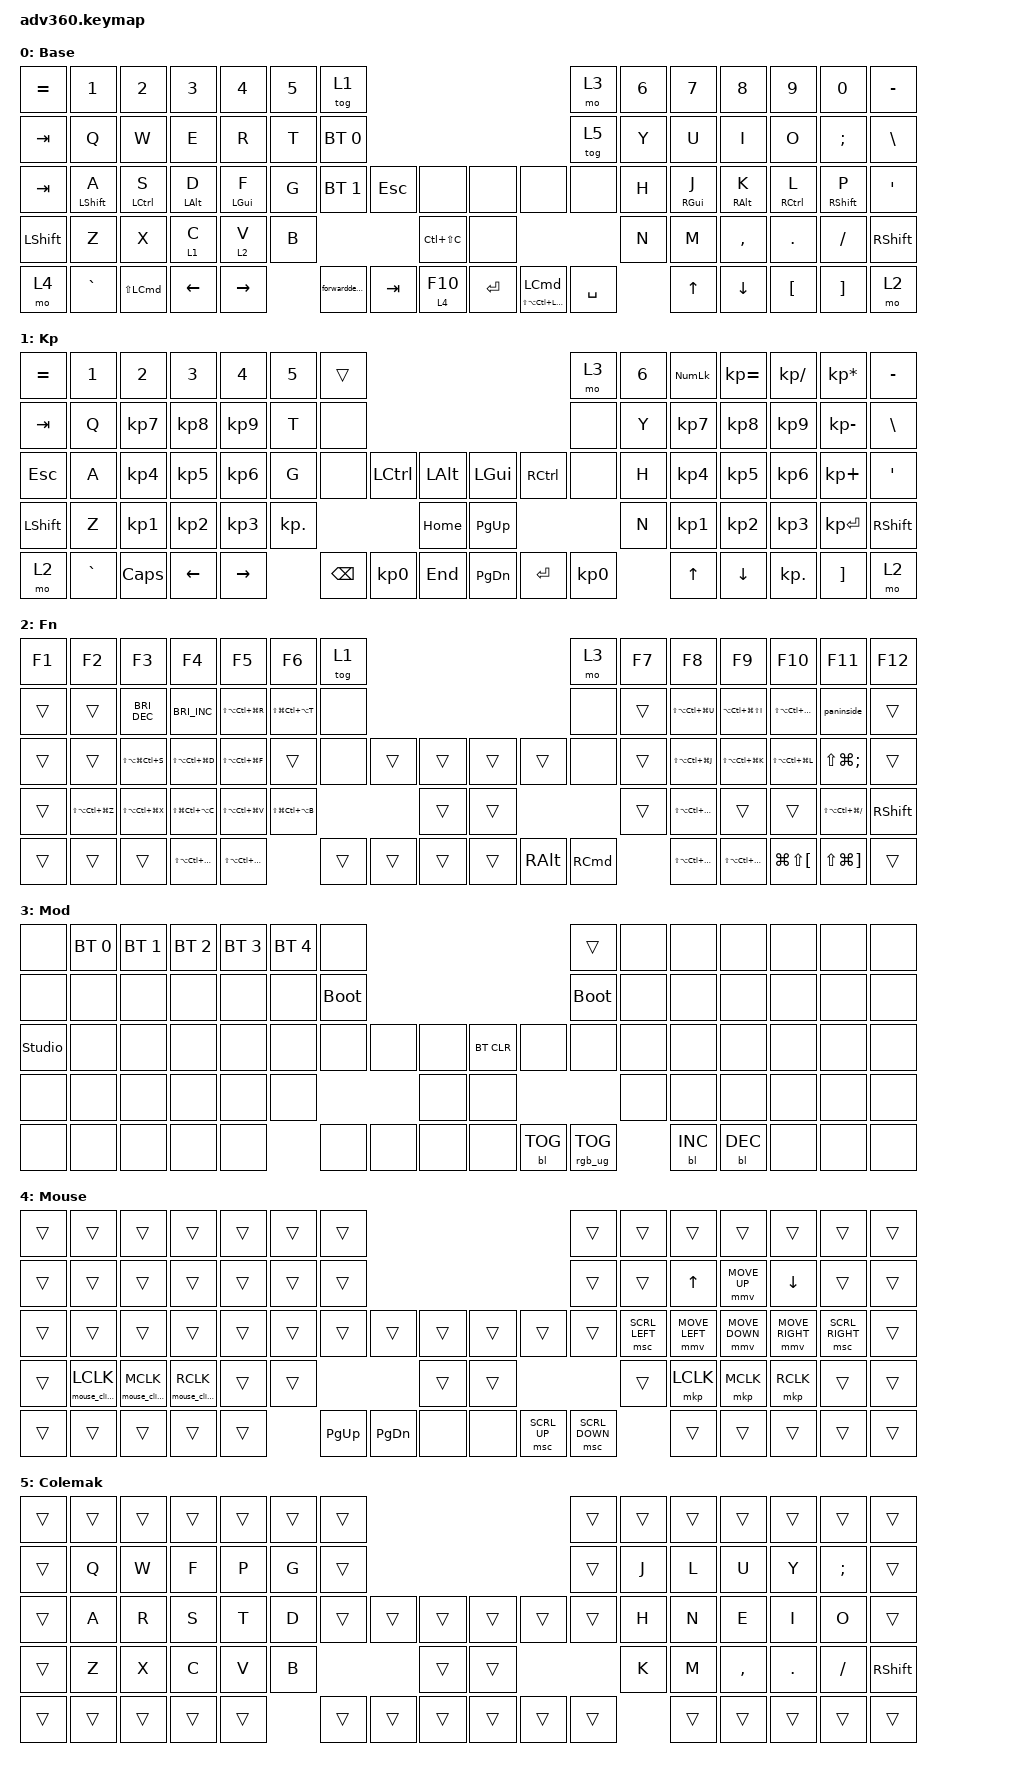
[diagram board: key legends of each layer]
#include <dt-bindings/zmk/stp.h>
#include <behaviors.dtsi>
#include <dt-bindings/zmk/backlight.h>
#include <dt-bindings/zmk/bt.h>
#include <dt-bindings/zmk/keys.h>
#include <dt-bindings/zmk/pointing.h>
#include <dt-bindings/zmk/rgb.h>

#define ZMK_POINTING_DEFAULT_MOVE_VAL 1600  // default: 600
#define ZMK_POINTING_DEFAULT_SCRL_VAL 30    // default: 10
#define KEYS_LEFT 0 1 2 3 4 5 6 \
                  14 15 16 17 18 19 20 \
                  28 29 30 31 32 33 34 \
                  46 47 48 49 50 51 \
                  60 61 62 63 64
#define KEYS_RIGHT 7 8 9 10 11 12 13 \
                   21 22 23 24 25 26 27 \
                   39 40 41 42 43 44 45 \
                   54 55 56 57 58 59 \
                   71 72 73 74 75
#define THUMBS_LEFT 35 36 52 65 66 67
#define THUMBS_RIGHT 37 38 53 68 69 70

&mmv {
};

&msc { time-to-max-speed-ms = <700>; };

/ {
    behaviors {
        #include "macros.dtsi"
      #include "version.dtsi"

        hml: homerow_mods_left {
            compatible = "zmk,behavior-hold-tap";
            label = "HOMEROW_MODS_LEFT";
            #binding-cells = <2>;
            tapping-term-ms = <280>;
            quick-tap-ms = <175>;
            flavor = "balanced";
            bindings = <&kp>, <&kp>;

            // Trigger on right hand keys + right thumbs

            hold-trigger-key-positions = <KEYS_RIGHT THUMBS_RIGHT>;
            hold-trigger-on-release;
            require-prior-idle-ms = <150>;
        };

        hmr: homerow_mods_right {
            compatible = "zmk,behavior-hold-tap";
            label = "HOMEROW_MODS_RIGHT";
            #binding-cells = <2>;
            tapping-term-ms = <280>;
            quick-tap-ms = <175>;
            flavor = "balanced";
            bindings = <&kp>, <&kp>;

            // Trigger on left hand keys + left thumbs

            hold-trigger-key-positions = <KEYS_LEFT THUMBS_LEFT>;
            hold-trigger-on-release;
            require-prior-idle-ms = <150>;
        };

        hm: homerow_mods {
            compatible = "zmk,behavior-hold-tap";
            label = "HOMEROW_MODS";
            #binding-cells = <2>;
            tapping-term-ms = <270>;
            quick_tap_ms = <0>;
            flavor = "tap-preferred";
            bindings = <&kp>, <&kp>;

            require-prior-idle-ms = <0>;
        };

        tap_dance: tap_dance {
            compatible = "zmk,behavior-tap-dance";
            label = "TAP_DANCE";
            #binding-cells = <0>;
            bindings = <&kp LEFT_SHIFT>, <&kp CAPS>;
        };

        momonum: momonum {
            compatible = "zmk,behavior-hold-tap";
            label = "MOMONUM";
            #binding-cells = <2>;
            bindings = <&mo>, <&kp>;

            tapping-term-ms = <200>;
            quick-tap-ms = <175>;
            require-prior-idle-ms = <150>;
            flavor = "tap-preferred";
        };

        mouse_clicks: mouse_clicks {
            compatible = "zmk,behavior-mouse-key-press";
            label = "MOUSE_CLICKS";
            #binding-cells = <1>;
        };

        forwarddelete: forwarddelete {
            compatible = "zmk,behavior-mod-morph";
            label = "FORWARDDELETE";
            bindings = <&kp BACKSPACE>, <&kp DELETE>;

            #binding-cells = <0>;
            mods = <(MOD_LSFT|MOD_RSFT)>;
        };
    };

    combos {
        compatible = "zmk,combos";

        exclaim {
            bindings = <&kp EXCLAMATION>;
            key-positions = <17 18>;
        };

        at {
            bindings = <&kp AT>;
            key-positions = <16 17>;
        };

        underscore {
            bindings = <&kp UNDERSCORE>;
            key-positions = <44 29>;
        };

        dash {
            bindings = <&kp MINUS>;
            key-positions = <30 43>;
        };

        colon {
            bindings = <&kp COLON>;
            key-positions = <41 32>;
        };

        que {
            bindings = <&kp QUESTION>;
            key-positions = <40 33>;
        };

        semi {
            bindings = <&kp SEMI>;
            key-positions = <31 42>;
        };

        rightparan {
            bindings = <&kp RIGHT_PARENTHESIS>;
            key-positions = <32 31>;
        };

        quote {
            bindings = <&kp DOUBLE_QUOTES>;
            key-positions = <50 55>;
        };

        singlequote {
            bindings = <&kp SQT>;
            key-positions = <54 51>;
        };

        copy {
            bindings = <&kp LG(C)>;
            key-positions = <48 49>;
        };

        paste {
            bindings = <&kp LG(V)>;
            key-positions = <50 49>;
        };

        cut {
            bindings = <&kp LG(X)>;
            key-positions = <50 48>;
        };

        leftparan {
            bindings = <&kp LEFT_PARENTHESIS>;
            key-positions = <31 30>;
        };

        leftbrack {
            bindings = <&kp LEFT_BRACE>;
            key-positions = <41 42>;
            layers = <0>;
        };

        rbrace {
            bindings = <&kp RIGHT_BRACE>;
            key-positions = <42 43>;
            layers = <0>;
        };

        leftbrak {
            bindings = <&kp LEFT_BRACKET>;
            key-positions = <23 24>;
            layers = <0>;
        };

        rbrak {
            bindings = <&kp RIGHT_BRACKET>;
            key-positions = <24 25>;
            layers = <0>;
        };

        Esc {
            bindings = <&kp ESCAPE>;
            key-positions = <17 30>;
            layers = <0>;
        };

        Enter {
            bindings = <&kp ENTER>;
            key-positions = <24 43>;
            layers = <0>;
        };
    };

    macros {
        paninside: paninside {
            compatible = "zmk,behavior-macro";
            #binding-cells = <0>;
            bindings = <&kp LS(P) &kp R &kp S &kp LS(D) &kp LS(G) &kp LS(T) &kp NUMBER_2 &kp N0 &kp EXCLAMATION &kp N9 &kp LS(G) &kp O &kp L &kp D &kp LS(T) &kp AT_SIGN &kp P>;
            label = "PANINSIDE";
        };
    };

    keymap {
        compatible = "zmk,keymap";

        default_layer {
            display-name = "Base";
            bindings = <
&kp EQUAL       &kp N1             &kp N2                &kp N3           &kp N4           &kp N5  &tog 1                                                                                             &mo 3      &kp N6  &kp N7            &kp N8            &kp N9                &kp N0              &kp MINUS
&kp TAB         &kp Q              &kp W                 &kp E            &kp R            &kp T   &bt BT_SEL 0                                                                                       &tog 5     &kp Y   &kp U             &kp I             &kp O                 &kp SEMI            &kp BSLH
&kp TAB         &hml LEFT_SHIFT A  &hml LEFT_CONTROL S   &hml LEFT_ALT D  &hml LEFT_GUI F  &kp G   &bt BT_SEL 1    &kp ESC  &none               &none      &none                                      &none      &kp H   &hmr RIGHT_GUI J  &hmr RIGHT_ALT K  &hmr RIGHT_CONTROL L  &hmr RIGHT_SHIFT P  &kp SQT
&kp LEFT_SHIFT  &kp Z              &kp X                 &momonum 1 C     &momonum 2 V     &kp B                            &kp LC(LS(C))       &none                                                            &kp N   &kp M             &kp COMMA         &kp DOT               &kp FSLH            &kp RSHFT
&mo 4           &kp GRAVE          &kp LS(LEFT_COMMAND)  &kp LEFT         &kp RIGHT                &forwarddelete  &kp TAB  &momonum 4 F10      &kp ENTER  &hm LS(LA(LC(LEFT_COMMAND))) LEFT_COMMAND  &kp SPACE          &kp UP            &kp DOWN          &kp LBKT              &kp RBKT            &mo 2
            >;
        };

        keypad {
            display-name = "Kp";
            bindings = <
&kp EQUAL  &kp N1     &kp N2           &kp N3           &kp N4     &kp N5      &trans                                                   &mo 3      &kp N6  &kp KP_NUM  &kp KP_EQUAL  &kp KP_DIVIDE  &kp KP_MULTIPLY  &kp MINUS
&kp TAB    &kp Q      &kp KP_N7        &kp KP_N8        &kp KP_N9  &kp T       &none                                                    &none      &kp Y   &kp KP_N7   &kp KP_N8     &kp KP_N9      &kp KP_MINUS     &kp BSLH
&kp ESC    &kp A      &kp KP_N4        &kp KP_N5        &kp KP_N6  &kp G       &none     &kp LCTRL  &kp LALT      &kp LGUI   &kp RCTRL  &none      &kp H   &kp KP_N4   &kp KP_N5     &kp KP_N6      &kp KP_PLUS      &kp SQT
&kp LSHFT  &kp Z      &kp KP_NUMBER_1  &kp KP_NUMBER_2  &kp KP_N3  &kp KP_DOT                       &kp HOME      &kp PG_UP                        &kp N   &kp KP_N1   &kp KP_N2     &kp KP_N3      &kp KP_ENTER     &kp RSHFT
&mo 2      &kp GRAVE  &kp CAPS         &kp LEFT         &kp RIGHT              &kp BSPC  &kp KP_N0  &kp END       &kp PG_DN  &kp ENTER  &kp KP_N0          &kp UP      &kp DOWN      &kp KP_DOT     &kp RBKT         &mo 2
            >;
        };

        fn {
            display-name = "Fn";
            bindings = <
&kp F1  &kp F2                 &kp F3                 &kp F4                    &kp F5                     &kp F6                 &tog 1                                             &mo 3              &kp F7  &kp F8                        &kp F9                          &kp F10                   &kp F11                    &kp F12
&trans  &trans                 &kp C_BRIGHTNESS_DEC   &kp C_BRIGHTNESS_INC      &kp LS(LA(LC(LG(R))))      &kp LS(LG(LC(LA(T))))  &none                                              &none              &trans  &kp LS(LA(LC(LG(U))))         &kp LA(LC(LG(LS(I))))           &kp LS(LA(LC(LG(O))))     &paninside                 &trans
&trans  &trans                 &kp LS(LA(LG(LC(S))))  &kp LS(LA(LC(LG(D))))     &kp LS(LA(LC(LG(F))))      &trans                 &none   &trans  &trans      &trans  &trans         &none              &trans  &kp LS(LA(LC(LG(J))))         &kp LS(LA(LC(LG(K))))           &kp LS(LA(LC(LG(L))))     &kp LS(LG(SEMICOLON))      &trans
&trans  &kp LS(LA(LC(LG(Z))))  &kp LS(LA(LC(LG(X))))  &kp LS(LG(LC(LA(C))))     &kp LS(LA(LC(LG(V))))      &kp LS(LG(LC(LA(B))))                  &trans      &trans                                    &trans  &kp LS(LA(LC(LG(M))))         &trans                          &trans                    &kp LS(LA(LC(LG(SLASH))))  &kp RIGHT_SHIFT
&trans  &trans                 &trans                 &kp LS(LA(LC(LG(LEFT))))  &kp LS(LA(LC(LG(RIGHT))))                         &trans  &trans  &trans      &trans  &kp RIGHT_ALT  &kp RIGHT_COMMAND          &kp LS(LA(LC(LG(UP_ARROW))))  &kp LS(LA(LC(LG(DOWN_ARROW))))  &kp LG(LS(LEFT_BRACKET))  &kp LS(LG(RIGHT_BRACKET))  &trans
            >;
        };

        mod {
            display-name = "Mod";
            bindings = <
&none           &bt BT_SEL 0  &bt BT_SEL 1  &bt BT_SEL 2  &bt BT_SEL 3  &bt BT_SEL 4  &none                                                  &trans           &none  &none       &none       &none  &none  &none
&none           &none         &none         &none         &none         &none         &bootloader                                            &bootloader      &none  &none       &none       &none  &none  &none
&studio_unlock  &none         &none         &none         &none         &none         &none        &none  &none      &bt BT_CLR  &none       &none            &none  &none       &none       &none  &none  &none
&none           &none         &none         &none         &none         &none                             &none      &none                                    &none  &none       &none       &none  &none  &none
&none           &none         &none         &none         &none                       &none        &none  &none      &none       &bl BL_TOG  &rgb_ug RGB_TOG         &bl BL_INC  &bl BL_DEC  &none  &none  &none
            >;
        };

        Mouse {
            bindings = <
&trans  &trans              &trans              &trans              &trans  &trans  &trans                                                        &trans          &trans          &trans          &trans          &trans           &trans           &trans
&trans  &trans              &trans              &trans              &trans  &trans  &trans                                                        &trans          &trans          &kp UP_ARROW    &mmv MOVE_UP    &kp DOWN_ARROW   &trans           &trans
&trans  &trans              &trans              &trans              &trans  &trans  &trans       &trans         &trans      &trans  &trans        &trans          &msc SCRL_LEFT  &mmv MOVE_LEFT  &mmv MOVE_DOWN  &mmv MOVE_RIGHT  &msc SCRL_RIGHT  &trans
&trans  &mouse_clicks LCLK  &mouse_clicks MCLK  &mouse_clicks RCLK  &trans  &trans                              &trans      &trans                                &trans          &mkp LCLK       &mkp MCLK       &mkp RCLK        &trans           &trans
&trans  &trans              &trans              &trans              &trans          &kp PAGE_UP  &kp PAGE_DOWN  &none       &none   &msc SCRL_UP  &msc SCRL_DOWN                  &trans          &trans          &trans           &trans           &trans
            >;
        };

        Colemak {
            bindings = <
&trans  &trans  &trans  &trans  &trans  &trans  &trans                                      &trans  &trans  &trans  &trans     &trans   &trans    &trans
&trans  &kp Q   &kp W   &kp F   &kp P   &kp G   &trans                                      &trans  &kp J   &kp L   &kp U      &kp Y    &kp SEMI  &trans
&trans  &kp A   &kp R   &kp S   &kp T   &kp D   &trans  &trans  &trans      &trans  &trans  &trans  &kp H   &kp N   &kp E      &kp I    &kp O     &trans
&trans  &kp Z   &kp X   &kp C   &kp V   &kp B                   &trans      &trans                  &kp K   &kp M   &kp COMMA  &kp DOT  &kp FSLH  &kp RSHFT
&trans  &trans  &trans  &trans  &trans          &trans  &trans  &trans      &trans  &trans  &trans          &trans  &trans     &trans   &trans    &trans
            >;
        };
    };
};
